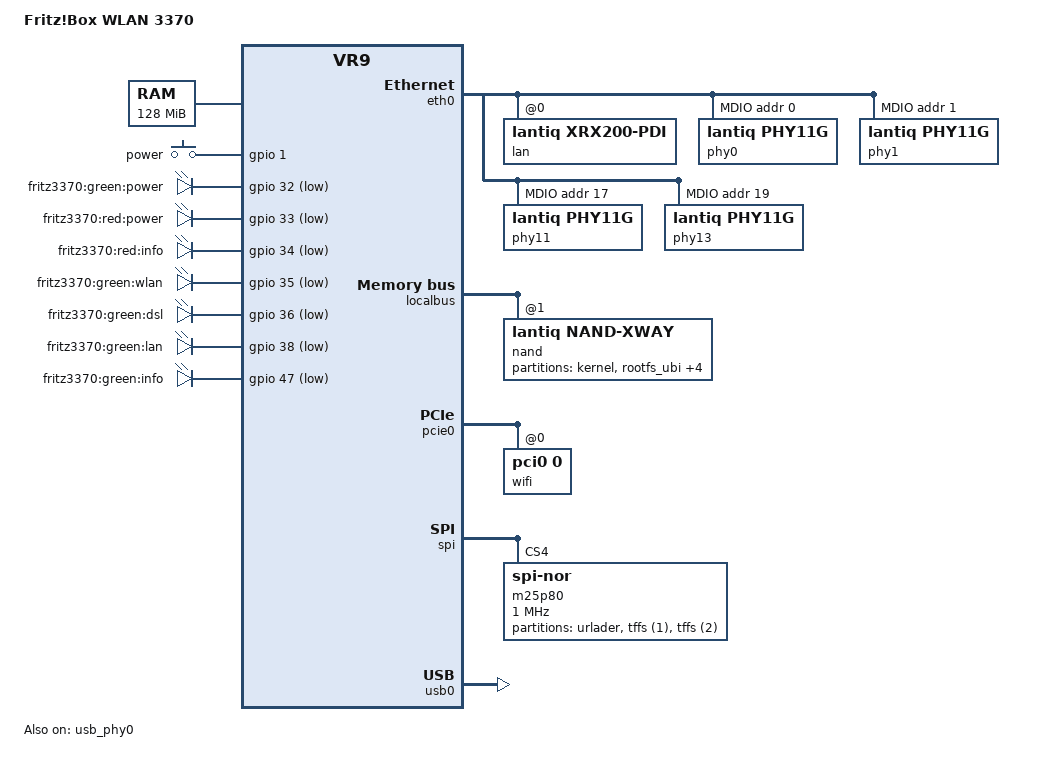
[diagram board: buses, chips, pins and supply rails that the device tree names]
/dts-v1/;

#include "vr9.dtsi"

#include <dt-bindings/input/input.h>
#include <dt-bindings/mips/lantiq_rcu_gphy.h>

/ {
	compatible = "avm,fritz3370", "lantiq,xway", "lantiq,vr9";
	model = "Fritz!Box WLAN 3370";

	chosen {
		bootargs = "console=ttyLTQ0,115200 ubi.mtd=1,512 root=/dev/mtdblock9";
	};

	aliases {
		led-boot = &power_green;
		led-failsafe = &power_red;
		led-running = &power_green;

		led-dsl = &dsl;
		led-internet = &info_green;
		led-wifi = &wifi;
	};

	memory@0 {
		reg = <0x0 0x8000000>;
	};

	gpio-keys-polled {
		compatible = "gpio-keys-polled";
		#address-cells = <1>;
		#size-cells = <0>;
		poll-interval = <100>;
		power {
			label = "power";
			gpios = <&gpio 1 GPIO_ACTIVE_HIGH>;
			linux,code = <KEY_POWER>;
		};
/*		wifi {
			label = "wifi";
			gpios = <&gpio 29 GPIO_ACTIVE_HIGH>;
			linux,code = <BTN_1>;
		};*/
	};

	gpio-leds {
		compatible = "gpio-leds";

		power_green: power {
			label = "fritz3370:green:power";
			gpios = <&gpio 32 GPIO_ACTIVE_LOW>;
			default-state = "keep";
		};
		power_red: power2 {
			label = "fritz3370:red:power";
			gpios = <&gpio 33 GPIO_ACTIVE_LOW>;
		};
		info_red {
			label = "fritz3370:red:info";
			gpios = <&gpio 34 GPIO_ACTIVE_LOW>;
		};
		wifi: wifi {
			label = "fritz3370:green:wlan";
			gpios = <&gpio 35 GPIO_ACTIVE_LOW>;
		};
		dsl: dsl {
			label = "fritz3370:green:dsl";
			gpios = <&gpio 36 GPIO_ACTIVE_LOW>;
		};
		lan {
			label = "fritz3370:green:lan";
			gpios = <&gpio 38 GPIO_ACTIVE_LOW>;
		};
		info_green: info_green {
			label = "fritz3370:green:info";
			gpios = <&gpio 47 GPIO_ACTIVE_LOW>;
		};
	};
};

&eth0 {
	lan: interface@0 {
		compatible = "lantiq,xrx200-pdi";
		#address-cells = <1>;
		#size-cells = <0>;
		reg = <0>;
		mtd-mac-address = <&urlader 0x987>;
		mtd-mac-address-increment = <(-2)>;
		lantiq,switch;

		ethernet@0 {
			compatible = "lantiq,xrx200-pdi-port";
			reg = <0>;
			phy-mode = "rgmii";
			phy-handle = <&phy0>;
			gpios = <&gpio 37 GPIO_ACTIVE_HIGH>;
		};
		ethernet@1 {
			compatible = "lantiq,xrx200-pdi-port";
			reg = <1>;
			phy-mode = "rgmii";
			phy-handle = <&phy1>;
			gpios = <&gpio 44 GPIO_ACTIVE_HIGH>;
		};
		ethernet@2 {
			compatible = "lantiq,xrx200-pdi-port";
			reg = <2>;
			phy-mode = "gmii";
			phy-handle = <&phy11>;
		};
		ethernet@3 {
			compatible = "lantiq,xrx200-pdi-port";
			reg = <4>;
			phy-mode = "gmii";
			phy-handle = <&phy13>;
		};
	};

	mdio@0 {
		#address-cells = <1>;
		#size-cells = <0>;
		compatible = "lantiq,xrx200-mdio";
		reg = <0>;

		phy0: ethernet-phy@0 {
			reg = <0x0>;
			compatible = "lantiq,phy11g", "ethernet-phy-ieee802.3-c22";
		};
		phy1: ethernet-phy@1 {
			reg = <0x1>;
			compatible = "lantiq,phy11g", "ethernet-phy-ieee802.3-c22";
		};
		phy11: ethernet-phy@11 {
			reg = <0x11>;
			compatible = "lantiq,phy11g", "ethernet-phy-ieee802.3-c22";
		};
		phy13: ethernet-phy@13 {
			reg = <0x13>;
			compatible = "lantiq,phy11g", "ethernet-phy-ieee802.3-c22";
		};
	};
};

&gphy0 {
	lantiq,gphy-mode = <GPHY_MODE_GE>;
};

&gphy1 {
	lantiq,gphy-mode = <GPHY_MODE_GE>;
};

&gpio {
	pinctrl-names = "default";
	pinctrl-0 = <&state_default>;

	state_default: pinmux {
		mdio {
			lantiq,groups = "mdio";
			lantiq,function = "mdio";
		};
		nand {
			lantiq,groups = "nand cle", "nand ale",
					"nand rd", "nand cs1", "nand rdy";
			lantiq,function = "ebu";
			lantiq,pull = <1>;
		};
		phy-rst {
			lantiq,pins = "io37", "io44";
			lantiq,pull = <0>;
			lantiq,open-drain = <0>;
			lantiq,output = <1>;
		};
		pcie-rst {
			lantiq,pins = "io38";
			lantiq,pull = <0>;
			lantiq,output = <1>;
		};
	};
	pins_spi_default: pins_spi_default {
		spi_in {
			lantiq,groups = "spi_di";
			lantiq,function = "spi";
		};
		spi_out {
			lantiq,groups = "spi_do", "spi_clk",
				"spi_cs4";
			lantiq,function = "spi";
			lantiq,output = <1>;
		};
	};
};

&localbus {
	nand@1 {
		compatible = "lantiq,nand-xway";
		bank-width = <2>;
		reg = <1 0x0 0x2000000>;
		#address-cells = <1>;
		#size-cells = <1>;

		partitions {
			compatible = "fixed-partitions";
			#address-cells = <1>;
			#size-cells = <1>;

			partition@0 {
				label = "kernel";
				reg = <0x0 0x400000>;
			};

			partition@400000 {
				label = "rootfs_ubi";
				reg = <0x400000 0x3000000>;
			};

			partition@3400000 {
				label = "vr9_firmware";
				reg = <0x3400000 0x400000>;
			};
			partition@3800000 {
				label = "reserved";
				reg = <0x3800000 0x3000000>;
			};
			partition@6800000 {
				label = "config";
				reg = <0x6800000 0x200000>;
			};
			partition@6a00000 {
				label = "nand-filesystem";
				reg = <0x6a00000 0x1600000>;
			};
		};
	};
};

&pcie0 {
	pcie@0 {
		reg = <0 0 0 0 0>;
		#interrupt-cells = <1>;
		#size-cells = <2>;
		#address-cells = <3>;
		device_type = "pci";

		wifi@0,0 {
			compatible = "pci0,0";
			reg = <0 0 0 0 0>;
			qca,no-eeprom; /* load from ath9k-eeprom-pci-0000:01:00.0.bin */
		};
	};
};

&spi {
	status = "okay";

	pinctrl-names = "default";
	pinctrl-0 = <&pins_spi_default>;

	m25p80@4 {
		#address-cells = <1>;
		#size-cells = <1>;
		compatible = "jedec,spi-nor";
		reg = <4 0>;
		spi-max-frequency = <1000000>;

		urlader: partition@0 {
			reg = <0x0 0x20000>;
			label = "urlader";
			read-only;
		};

		partition@20000 {
			reg = <0x20000 0x10000>;
			label = "tffs (1)";
			read-only;
		};

		partition@30000 {
			reg = <0x30000 0x10000>;
			label = "tffs (2)";
			read-only;
		};
	};
};

/*
 * TODO: add phy-supply, gpio 5 GPIO_ACTIVE_HIGH and gpio 14 GPIO_ACTIVE_HIGH are
 * related
 */
&usb_phy0 {
	status = "okay";
};

&usb0 {
	status = "okay";
};
